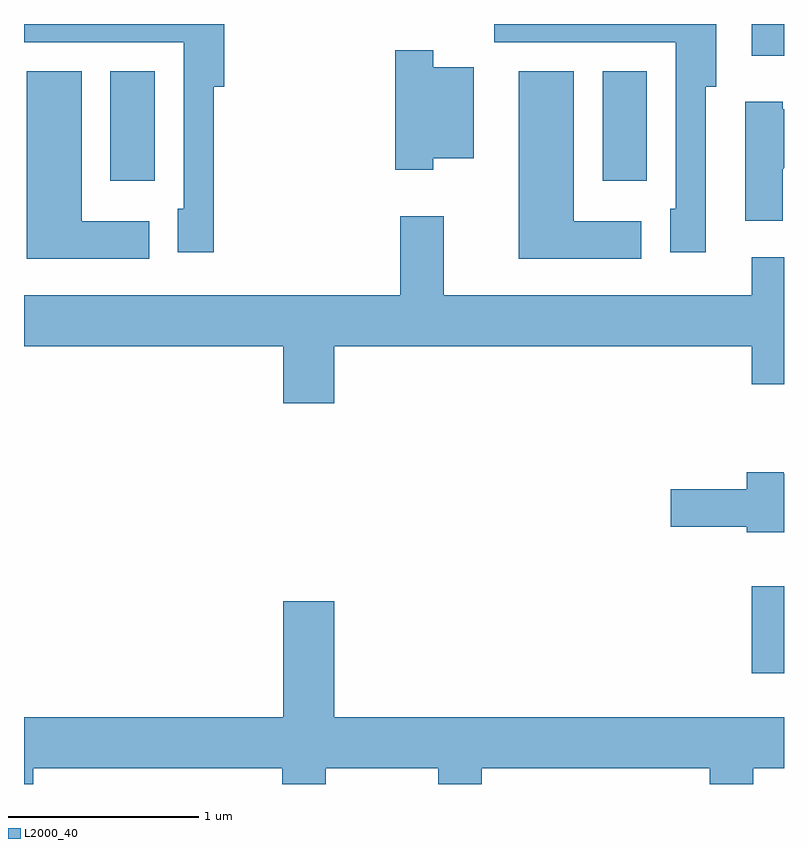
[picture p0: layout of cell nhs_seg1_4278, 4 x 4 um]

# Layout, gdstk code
import gdstk
lib = gdstk.Library(unit=1e-6, precision=1e-09)
def R(c, l, rs):  # rectangles x0, y0, x1, y1
    for r in rs: c.add(gdstk.rectangle(r[:2], r[2:], *l))
def P(c, l, *ps):  # polygons
    for p in ps: c.add(gdstk.Polygon(p, *l))
L2000_40 = (2000, 40)

nhs_seg1_4278 = lib.new_cell('nhs_seg1_4278')
R(nhs_seg1_4278, L2000_40, [(317.441,902.296,317.611,902.754), (314.066,904.886,314.299,905.464), (316.656,904.886,316.889,905.464), (317.441,905.546,317.611,905.712)])
P(nhs_seg1_4278, L2000_40, [(317.199,905.381),(317.254,905.381),(317.254,905.712),(316.086,905.712),(316.086,905.616),(317.041,905.616),(317.041,904.739),(317.011,904.739),(317.011,904.511),(317.199,904.511)],
  [(314.609,905.381),(314.664,905.381),(314.664,905.712),(313.611,905.712),(313.611,905.616),(314.451,905.616),(314.451,904.739),(314.421,904.739),(314.421,904.511),(314.609,904.511)],
  [(315.764,905.006),(315.979,905.006),(315.979,905.484),(315.764,905.484),(315.764,905.574),(315.566,905.574),(315.566,904.946),(315.764,904.946)],
  [(316.859,904.674),(316.504,904.674),(316.504,905.464),(316.216,905.464),(316.216,904.476),(316.859,904.476)],
  [(314.269,904.674),(313.914,904.674),(313.914,905.464),(313.626,905.464),(313.626,904.476),(314.269,904.476)],
  [(317.604,904.95),(317.61,904.95),(317.61,904.956),(317.611,904.956),(317.611,905.264),(317.604,905.264),(317.604,905.304),(317.406,905.304),(317.406,904.676),(317.604,904.676)],
  [(315.244,904.016),(317.441,904.016),(317.441,903.816),(317.611,903.816),(317.611,904.484),(317.441,904.484),(317.441,904.284),(315.819,904.284),(315.819,904.699),(315.591,904.699),(315.591,904.284),(313.611,904.284),(313.611,904.016),(314.976,904.016),(314.976,903.716),(315.244,903.716)],
  [(317.611,903.344),(317.61,903.344),(317.61,903.354),(317.416,903.354),(317.416,903.264),(317.016,903.264),(317.016,903.066),(317.416,903.066),(317.416,903.036),(317.611,903.036)],
  [(313.659,901.796),(314.971,901.796),(314.971,901.712),(315.199,901.712),(315.199,901.796),(315.791,901.796),(315.791,901.712),(316.019,901.712),(316.019,901.796),(317.221,901.796),(317.221,901.712),(317.449,901.712),(317.449,901.796),(317.611,901.796),(317.611,902.064),(315.244,902.064),(315.244,902.674),(314.976,902.674),(314.976,902.064),(313.611,902.064),(313.611,901.712),(313.659,901.712)])

lib.write_gds('nhs_seg1_4278.gds')
